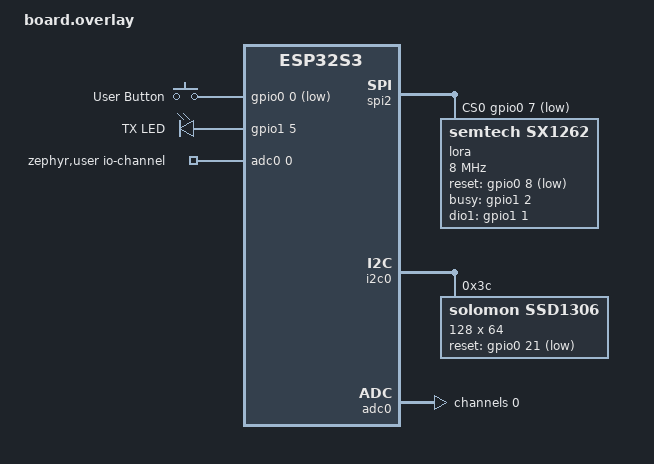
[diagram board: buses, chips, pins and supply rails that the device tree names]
/*
 * SPDX-License-Identifier: MIT
 * LilyGo T3S3 — ZephCore overlay
 *
 * The board DTS defines the minimal SoC/bus layer (SPI2, I2C0, GPIO, USB
 * serial, BLE, WiFi, flash partitions). This overlay adds the ZephCore
 * peripheral wiring on top.
 *
 * Pin mapping (from Arduino MeshCore variants/lilygo_t3s3):
 *   LoRa SPI2:  SCLK=GPIO5, MOSI=GPIO6, MISO=GPIO3, NSS=GPIO7
 *   LoRa ctrl:  RESET=GPIO8, BUSY=GPIO34, DIO1=GPIO33
 *               DIO2 = antenna RF switch, DIO3 = 1.8V TCXO
 *   Display I2C0: SDA=GPIO18, SCL=GPIO17, RST=GPIO21 (SSD1306 @0x3C)
 *   Button:     GPIO0
 *   TX LED:     GPIO37
 *   VBAT ADC:   GPIO1 = ADC unit 1 ch 0 (&adc0)
 *
 * GPIO bank note (ESP32-S3): GPIO0-31 are on &gpio0, GPIO32-47 on &gpio1.
 * GPIO33 = &gpio1 pin 1, GPIO34 = &gpio1 pin 2, GPIO37 = &gpio1 pin 5.
 */

#include <zephyr/dt-bindings/lora/sx126x.h>
#include <zephyr/dt-bindings/input/input-event-codes.h>
#include <zephyr/dt-bindings/adc/adc.h>

/ {
	aliases {
		lora0 = &lora;
		sw0 = &user_button;
		lora-tx-led = &tx_led;
	};

	chosen {
		zephyr,display = &ssd1306;
	};

	/* User button chain — same mapping as RAK4631 / WisMesh Pocket. */
	buttons: buttons {
		compatible = "gpio-keys";

		user_button: button_0 {
			gpios = <&gpio0 0 (GPIO_PULL_UP | GPIO_ACTIVE_LOW)>;
			label = "User Button";
			zephyr,code = <INPUT_KEY_0>;
		};
	};

	user_btn_longpress {
		compatible = "zephyr,input-longpress";
		input = <&buttons>;
		input-codes = <INPUT_KEY_0>;
		short-codes = <INPUT_KEY_A>;
		long-codes = <INPUT_KEY_ENTER>;
		long-delay-ms = <1000>;
	};

	page_btn_multitap {
		compatible = "zephcore,input-multi-tap";
		input-codes = <INPUT_KEY_A>;
		tap-codes = <INPUT_KEY_1 INPUT_KEY_LEFT>;
		tap-delay-ms = <400>;
	};

	/* TX activity LED — GPIO37, active-HIGH. Blinks on LoRa TX. */
	leds {
		compatible = "gpio-leds";

		tx_led: led_0 {
			gpios = <&gpio1 5 GPIO_ACTIVE_HIGH>;  /* GPIO37 = gpio1 pin 5 */
			label = "TX LED";
		};
	};

	/* Battery ADC — ZephCore reads via zephyr,user { io-channels }.
	 * GPIO1 = ADC unit 1 ch 0 = &adc0 (label 0-indexed, unit 1-indexed).
	 * Multiplier: 1100 mV ref × 4 gain × 2:1 divider = 8800, matching
	 * MeshCore's 2 × analogReadMilliVolts. */
	zephyr,user {
		io-channels = <&adc0 0>;
		vbat-mv-multiplier = <8800>;
	};
};

/* SX1262 on SPI2 (pinctrl already set in board DTS). */
&spi2 {
	cs-gpios = <&gpio0 7 GPIO_ACTIVE_LOW>;  /* NSS = GPIO7 */

	lora: lora@0 {
		compatible = "semtech,sx1262";
		reg = <0>;
		spi-max-frequency = <8000000>;

		reset-gpios = <&gpio0 8 GPIO_ACTIVE_LOW>;                    /* RESET = GPIO8 */
		busy-gpios  = <&gpio1 2 GPIO_ACTIVE_HIGH>;                   /* BUSY  = GPIO34 = gpio1 pin 2 */
		dio1-gpios  = <&gpio1 1 (GPIO_PULL_DOWN | GPIO_ACTIVE_HIGH)>; /* DIO1  = GPIO33 = gpio1 pin 1 */

		/* DIO2 drives the antenna TX/RX switch (no rx/tx-enable GPIOs). */
		dio2-tx-enable;

		/* TCXO 1.8V via DIO3 — 5 ms matches Arduino (RadioLib ctrl timeout) */
		dio3-tcxo-voltage = <SX126X_DIO3_TCXO_1V8>;
		tcxo-power-startup-delay-ms = <5>;

		rx-boosted;
	};
};

/* SSD1306 128x64 OLED on I2C0 */
&i2c0 {
	ssd1306: ssd1306@3c {
		compatible = "solomon,ssd1306";
		reg = <0x3c>;
		width = <128>;
		height = <64>;
		segment-offset = <0>;
		page-offset = <0>;
		display-offset = <0>;
		multiplex-ratio = <63>;
		segment-remap;
		com-invdir;
		inversion-on;
		prechargep = <0x22>;
		reset-gpios = <&gpio0 21 GPIO_ACTIVE_LOW>;  /* RST_OLED = GPIO21 */
	};

	#include "../../common/sensors-i2c.dtsi"
};

/* Battery ADC channel configuration on adc0 (ADC unit 1 -> GPIO1 = ch0).
 * Without the channel node adc_channel_setup_dt() fails and
 * getBattMilliVolts() returns 0. */
&adc0 {
	status = "okay";
	#address-cells = <1>;
	#size-cells = <0>;

	channel@0 {
		reg = <0>;
		/* ADC_GAIN_1_4 = 12 dB ≈ Arduino's default 3.3V scale;
		 * 1/6 not supported by the esp32 driver → channel setup fails. */
		zephyr,gain = "ADC_GAIN_1_4";
		zephyr,reference = "ADC_REF_INTERNAL";
		zephyr,acquisition-time = <ADC_ACQ_TIME_DEFAULT>;
		zephyr,resolution = <12>;
	};
};

/* ADC unit 2 (label adc1) is unused on this board; keep it disabled. */
&adc1 {
	status = "disabled";
};

/*
 * Flash partitions live in partitions.overlay (this dir) so the identical map
 * is fed to both the app and the MCUboot image — see that file and
 * sysbuild/CMakeLists.txt.
 */

/* LittleFS auto-mount — standard /lfs mount point */
#include "../../common/filesystem.dtsi"

/* USB OTG companion transport. The node is inert unless the build enables the
 * USB device stack via boards/common/esp32s3_usb.conf.
 *
 * This board consoles over USB Serial/JTAG (board DTS), which shares D+/D-
 * with USB OTG — so the console reroute to uart0 lives in the auto-paired
 * boards/common/esp32s3_usb.overlay and applies only when that conf is passed.
 * Do NOT include esp32s3_console_uart0.dtsi here: it would move the console
 * onto GPIO43/44 in every build of this board. */
#include "../../common/esp32s3_usb_otg.dtsi"
